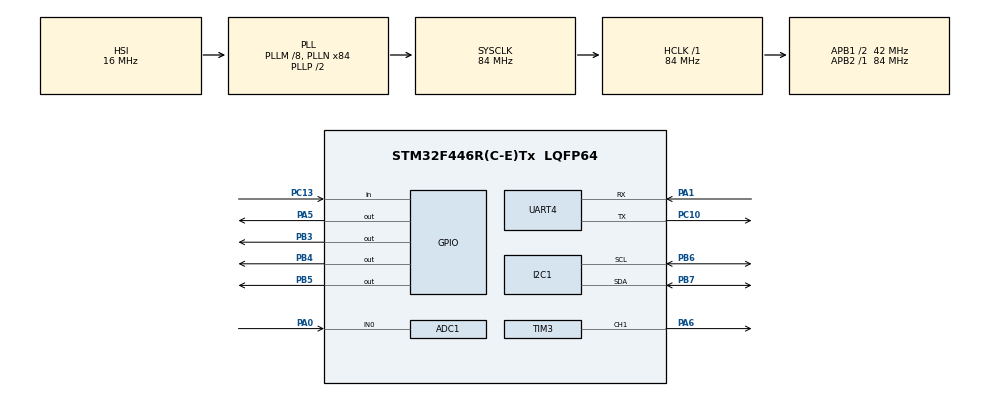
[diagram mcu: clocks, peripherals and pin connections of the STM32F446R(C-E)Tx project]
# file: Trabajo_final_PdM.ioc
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ADC1.Channel-0\#ChannelRegularConversion=ADC_CHANNEL_0
ADC1.NbrOfConversionFlag=1
ADC1.Rank-0\#ChannelRegularConversion=1
ADC1.SamplingTime-0\#ChannelRegularConversion=ADC_SAMPLETIME_3CYCLES
ADC1.master=1
I2C1.I2C_Mode=I2C_Fast
Mcu.Family=STM32F4
Mcu.Name=STM32F446R(C-E)Tx
Mcu.Package=LQFP64
NVIC.ADC_IRQn=true\:0\:0\:false\:false\:true\:true\:true\:true
NVIC.PriorityGroup=NVIC_PRIORITYGROUP_4
NVIC.UART4_IRQn=true\:0\:0\:false\:false\:true\:true\:true\:true
PA0-WKUP.Signal=ADCx_IN0
PA1.Mode=Asynchronous
PA1.Signal=UART4_RX
PA13.Mode=Serial_Wire
PA13.Signal=SYS_JTMS-SWDIO
PA14.Mode=Serial_Wire
PA14.Signal=SYS_JTCK-SWCLK
PA5.Signal=GPIO_Output
PA6.Signal=S_TIM3_CH1
PB3.Signal=GPIO_Output
PB4.Signal=GPIO_Output
PB5.Signal=GPIO_Output
PB6.Mode=I2C
PB6.Signal=I2C1_SCL
PB7.Mode=I2C
PB7.Signal=I2C1_SDA
PC10.Mode=Asynchronous
PC10.Signal=UART4_TX
PC13.GPIO_PuPd=GPIO_NOPULL
PC13.Signal=GPIO_Input
PC14-OSC32_IN.Mode=LSE-External-Oscillator
PC14-OSC32_IN.Signal=RCC_OSC32_IN
PC15-OSC32_OUT.Mode=LSE-External-Oscillator
PC15-OSC32_OUT.Signal=RCC_OSC32_OUT
PH0-OSC_IN.Mode=HSE-External-Oscillator
PH0-OSC_IN.Signal=RCC_OSC_IN
PH1-OSC_OUT.Mode=HSE-External-Oscillator
PH1-OSC_OUT.Signal=RCC_OSC_OUT
ProjectManager.HeapSize=0x200
ProjectManager.StackSize=0x400
ProjectManager.TargetToolchain=STM32CubeIDE
RCC.AHBFreq_Value=84000000
RCC.APB1CLKDivider=RCC_HCLK_DIV2
RCC.APB1Freq_Value=42000000
RCC.APB1TimFreq_Value=84000000
RCC.APB2Freq_Value=84000000
RCC.APB2TimFreq_Value=84000000
RCC.CortexFreq_Value=84000000
RCC.HCLKFreq_Value=84000000
RCC.PLLM=8
RCC.PLLN=84
RCC.SYSCLKFreq_VALUE=84000000
RCC.SYSCLKSource=RCC_SYSCLKSOURCE_PLLCLK
RCC.USBFreq_Value=84000000
RCC.VCOOutputFreq_Value=168000000
SH.ADCx_IN0.0=ADC1_IN0,IN0
SH.S_TIM3_CH1.0=TIM3_CH1,PWM Generation1 CH1
TIM3.Channel-PWM\ Generation1\ CH1=TIM_CHANNEL_1
TIM3.Period=19999
TIM3.Prescaler=83
UART4.VirtualMode=Asynchronous
VP_TIM3_VS_ClockSourceINT.Mode=Internal
board=custom

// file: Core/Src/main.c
/* USER CODE BEGIN Header */
/**
  ******************************************************************************
  * @file           : main.c
  * @brief          : Main program body
  ******************************************************************************
  * @attention
  *
  * Copyright (c) 2025 STMicroelectronics.
  * All rights reserved.
  *
  * This software is licensed under terms that can be found in the LICENSE file
  * in the root directory of this software component.
  * If no LICENSE file comes with this software, it is provided AS-IS.
  *
  ******************************************************************************
  */
/* USER CODE END Header */
#include "main.h"

/* USER CODE BEGIN PTD */
typedef enum{wait,read,write}state_t;							//estados de la SM
typedef enum{null_event,button,time_off,ADC_ready}event_t;		//eventos
/* USER CODE END PTD */

/* USER CODE BEGIN PM */

const tick_t mechanic_tao=300;

/* USER CODE END PM */

ADC_HandleTypeDef hadc1;

I2C_HandleTypeDef hi2c1;

TIM_HandleTypeDef htim3;

UART_HandleTypeDef huart4;

/* USER CODE BEGIN PV */

delay_t delay_mech;					//Variable que se utiliza para tomar el retardo mecanico del servo
volatile dato_t ADC_data;			//Variable que almacena el valor del ADC leido
volatile uint8_t rxByte=0;

/* USER CODE END PV */

void SystemClock_Config(void);
static void MX_GPIO_Init(void);
static void MX_ADC1_Init(void);
static void MX_TIM3_Init(void);
static void MX_I2C1_Init(void);
static void MX_UART4_Init(void);
/* USER CODE BEGIN PFP */

event_t events();
void FSM(state_t *state,event_t evt);
void FSM_Init(void);
void action_read(void);
void action_write();
void First_Write();

/* USER CODE END PFP */

int main(void)
{

  /* MCU Configuration--------------------------------------------------------*/

  /* Reset of all peripherals, Initializes the Flash interface and the Systick. */
  HAL_Init();

  /* Configure the system clock */
  SystemClock_Config();

  /* Initialize all configured peripherals */
  MX_GPIO_Init();
  MX_ADC1_Init();
  MX_TIM3_Init();
  MX_I2C1_Init();
  MX_UART4_Init();
  /* USER CODE BEGIN 2 */

  /*Condiciones iniciales*/
  state_t state_FSM=wait;					//Variable que registrara el estado actual de la SM. Se inicia en wait
  event_t event_FSM=null_event;				//Variable que registrara los eventos que ocasionen un cambio de estado.

  delay_mech.running=disable_mode;			//Se inicializa flag en 'disable'
  ADC_data.dato_ready=false;				//Se inicializa flag en 'false'

  FSM_Init();								//Inicializacion de la SM.

  /* USER CODE END 2 */

  /* Infinite loop */
  while (1)
  {

    /* USER CODE BEGIN 3 */
	debounceFSM_update();					//Actualizo la SM de los pulsadores
	event_FSM = events();					//Checkeo eventos
	FSM(&state_FSM,event_FSM);				//Actualizo la SM del sistema
	//debugger_GPIO((uint32_t)state_FSM);	//Descomentar para debuggear los estados instantaneos

  }
  /* USER CODE END 3 */
}

void SystemClock_Config(void)
{
  RCC_OscInitTypeDef RCC_OscInitStruct = {0};
  RCC_ClkInitTypeDef RCC_ClkInitStruct = {0};

  /** Configure the main internal regulator output voltage
  */
  __HAL_RCC_PWR_CLK_ENABLE();
  __HAL_PWR_VOLTAGESCALING_CONFIG(PWR_REGULATOR_VOLTAGE_SCALE3);

  /** Initializes the RCC Oscillators according to the specified parameters
  * in the RCC_OscInitTypeDef structure.
  */
  RCC_OscInitStruct.OscillatorType = RCC_OSCILLATORTYPE_HSI;
  RCC_OscInitStruct.HSIState = RCC_HSI_ON;
  RCC_OscInitStruct.HSICalibrationValue = RCC_HSICALIBRATION_DEFAULT;
  RCC_OscInitStruct.PLL.PLLState = RCC_PLL_ON;
  RCC_OscInitStruct.PLL.PLLSource = RCC_PLLSOURCE_HSI;
  RCC_OscInitStruct.PLL.PLLM = 8;
  RCC_OscInitStruct.PLL.PLLN = 84;
  RCC_OscInitStruct.PLL.PLLP = RCC_PLLP_DIV2;
  RCC_OscInitStruct.PLL.PLLQ = 2;
  RCC_OscInitStruct.PLL.PLLR = 2;
  if (HAL_RCC_OscConfig(&RCC_OscInitStruct) != HAL_OK)
  {
    Error_Handler();
  }

  /** Initializes the CPU, AHB and APB buses clocks
  */
  RCC_ClkInitStruct.ClockType = RCC_CLOCKTYPE_HCLK|RCC_CLOCKTYPE_SYSCLK
                              |RCC_CLOCKTYPE_PCLK1|RCC_CLOCKTYPE_PCLK2;
  RCC_ClkInitStruct.SYSCLKSource = RCC_SYSCLKSOURCE_PLLCLK;
  RCC_ClkInitStruct.AHBCLKDivider = RCC_SYSCLK_DIV1;
  RCC_ClkInitStruct.APB1CLKDivider = RCC_HCLK_DIV2;
  RCC_ClkInitStruct.APB2CLKDivider = RCC_HCLK_DIV1;

  if (HAL_RCC_ClockConfig(&RCC_ClkInitStruct, FLASH_LATENCY_2) != HAL_OK)
  {
    Error_Handler();
  }
}

static void MX_ADC1_Init(void)
{

  ADC_ChannelConfTypeDef sConfig = {0};

  /** Configure the global features of the ADC (Clock, Resolution, Data Alignment and number of conversion)
  */
  hadc1.Instance = ADC1;
  hadc1.Init.ClockPrescaler = ADC_CLOCK_SYNC_PCLK_DIV4;
  hadc1.Init.Resolution = ADC_RESOLUTION_12B;
  hadc1.Init.ScanConvMode = DISABLE;
  hadc1.Init.ContinuousConvMode = DISABLE;
  hadc1.Init.DiscontinuousConvMode = DISABLE;
  hadc1.Init.ExternalTrigConvEdge = ADC_EXTERNALTRIGCONVEDGE_NONE;
  hadc1.Init.ExternalTrigConv = ADC_SOFTWARE_START;
  hadc1.Init.DataAlign = ADC_DATAALIGN_RIGHT;
  hadc1.Init.NbrOfConversion = 1;
  hadc1.Init.DMAContinuousRequests = DISABLE;
  hadc1.Init.EOCSelection = ADC_EOC_SINGLE_CONV;
  if (HAL_ADC_Init(&hadc1) != HAL_OK)
  {
    Error_Handler();
  }

  /** Configure for the selected ADC regular channel its corresponding rank in the sequencer and its sample time.
  */
  sConfig.Channel = ADC_CHANNEL_0;
  sConfig.Rank = 1;
  sConfig.SamplingTime = ADC_SAMPLETIME_3CYCLES;
  if (HAL_ADC_ConfigChannel(&hadc1, &sConfig) != HAL_OK)
  {
    Error_Handler();
  }

}

static void MX_I2C1_Init(void)
{

  hi2c1.Instance = I2C1;
  hi2c1.Init.ClockSpeed = 400000;
  hi2c1.Init.DutyCycle = I2C_DUTYCYCLE_2;
  hi2c1.Init.OwnAddress1 = 0;
  hi2c1.Init.AddressingMode = I2C_ADDRESSINGMODE_7BIT;
  hi2c1.Init.DualAddressMode = I2C_DUALADDRESS_DISABLE;
  hi2c1.Init.OwnAddress2 = 0;
  hi2c1.Init.GeneralCallMode = I2C_GENERALCALL_DISABLE;
  hi2c1.Init.NoStretchMode = I2C_NOSTRETCH_DISABLE;
  if (HAL_I2C_Init(&hi2c1) != HAL_OK)
  {
    Error_Handler();
  }

}

static void MX_TIM3_Init(void)
{

  TIM_ClockConfigTypeDef sClockSourceConfig = {0};
  TIM_MasterConfigTypeDef sMasterConfig = {0};
  TIM_OC_InitTypeDef sConfigOC = {0};

  htim3.Instance = TIM3;
  htim3.Init.Prescaler = 83;
  htim3.Init.CounterMode = TIM_COUNTERMODE_UP;
  htim3.Init.Period = 19999;
  htim3.Init.ClockDivision = TIM_CLOCKDIVISION_DIV1;
  htim3.Init.AutoReloadPreload = TIM_AUTORELOAD_PRELOAD_DISABLE;
  if (HAL_TIM_Base_Init(&htim3) != HAL_OK)
  {
    Error_Handler();
  }
  sClockSourceConfig.ClockSource = TIM_CLOCKSOURCE_INTERNAL;
  if (HAL_TIM_ConfigClockSource(&htim3, &sClockSourceConfig) != HAL_OK)
  {
    Error_Handler();
  }
  if (HAL_TIM_PWM_Init(&htim3) != HAL_OK)
  {
    Error_Handler();
  }
  sMasterConfig.MasterOutputTrigger = TIM_TRGO_RESET;
  sMasterConfig.MasterSlaveMode = TIM_MASTERSLAVEMODE_DISABLE;
  if (HAL_TIMEx_MasterConfigSynchronization(&htim3, &sMasterConfig) != HAL_OK)
  {
    Error_Handler();
  }
  sConfigOC.OCMode = TIM_OCMODE_PWM1;
  sConfigOC.Pulse = 0;
  sConfigOC.OCPolarity = TIM_OCPOLARITY_HIGH;
  sConfigOC.OCFastMode = TIM_OCFAST_DISABLE;
  if (HAL_TIM_PWM_ConfigChannel(&htim3, &sConfigOC, TIM_CHANNEL_1) != HAL_OK)
  {
    Error_Handler();
  }
  HAL_TIM_MspPostInit(&htim3);

}

static void MX_UART4_Init(void)
{

  huart4.Instance = UART4;
  huart4.Init.BaudRate = 115200;
  huart4.Init.WordLength = UART_WORDLENGTH_8B;
  huart4.Init.StopBits = UART_STOPBITS_1;
  huart4.Init.Parity = UART_PARITY_NONE;
  huart4.Init.Mode = UART_MODE_TX_RX;
  huart4.Init.HwFlowCtl = UART_HWCONTROL_NONE;
  huart4.Init.OverSampling = UART_OVERSAMPLING_16;
  if (HAL_UART_Init(&huart4) != HAL_OK)
  {
    Error_Handler();
  }

}

static void MX_GPIO_Init(void)
{
  GPIO_InitTypeDef GPIO_InitStruct = {0};

  /* GPIO Ports Clock Enable */
  __HAL_RCC_GPIOC_CLK_ENABLE();
  __HAL_RCC_GPIOH_CLK_ENABLE();
  __HAL_RCC_GPIOA_CLK_ENABLE();
  __HAL_RCC_GPIOB_CLK_ENABLE();

  /*Configure GPIO pin Output Level */
  HAL_GPIO_WritePin(GPIOA, GPIO_PIN_5, GPIO_PIN_RESET);

  /*Configure GPIO pin Output Level */
  HAL_GPIO_WritePin(GPIOB, GPIO_PIN_3|GPIO_PIN_4|GPIO_PIN_5, GPIO_PIN_RESET);

  /*Configure GPIO pin : PC13 */
  GPIO_InitStruct.Pin = GPIO_PIN_13;
  GPIO_InitStruct.Mode = GPIO_MODE_INPUT;
  GPIO_InitStruct.Pull = GPIO_NOPULL;
  HAL_GPIO_Init(GPIOC, &GPIO_InitStruct);

  /*Configure GPIO pin : PA5 */
  GPIO_InitStruct.Pin = GPIO_PIN_5;
  GPIO_InitStruct.Mode = GPIO_MODE_OUTPUT_PP;
  GPIO_InitStruct.Pull = GPIO_NOPULL;
  GPIO_InitStruct.Speed = GPIO_SPEED_FREQ_LOW;
  HAL_GPIO_Init(GPIOA, &GPIO_InitStruct);

  /*Configure GPIO pins : PB3 PB4 PB5 */
  GPIO_InitStruct.Pin = GPIO_PIN_3|GPIO_PIN_4|GPIO_PIN_5;
  GPIO_InitStruct.Mode = GPIO_MODE_OUTPUT_PP;
  GPIO_InitStruct.Pull = GPIO_NOPULL;
  GPIO_InitStruct.Speed = GPIO_SPEED_FREQ_LOW;
  HAL_GPIO_Init(GPIOB, &GPIO_InitStruct);

}

/* USER CODE BEGIN 4 */

/*
 * Funcion para checkear eventos
 * No lleva parametros
 * Devuelve el evento del tipo event_t
 * */
event_t events(void){
	event_t event_r=null_event;						//En caso de no registrar eventos: devuelve 'null_event'

	if(ADC_data.dato_ready==true){					//Si el flag esta en 'true' significa que hay un dato disponible para ser leido
		event_r=ADC_ready;
	}

	if(delayRead_2(&delay_mech) == ready_mode){		//Si el flag es 'ready_mode' significa que termino el NB-delay
		event_r=time_off;
	}

	if(readKey()){									//Si se preciona el pulsador el evento es 'button'
		event_r=button;								//Se encuentra ultimo por mayor prioridad
	}

	return event_r;
}

/*
 * Funcion para inicializar la SM
 * No lleva parametros
 * No retorna un valor
 * */
void FSM_Init(void){
	UART_Rx_IT();				//Inicializacion de recepcion UART para comandos de config
	debounceFSM_init();			//Inicializacion de la SM del pulsador
	Display_Init();				//Inicializacion del Display
	PWM_Init();					//Inicializacion de la señal PWM que controla el servo
	PWM_Control(0);				//Estado inicial del servomotor ~0 grados.
	wellcome();					//Mensaje de inicio del Display
}

/*
 * Funcion para actualiza los estados de la SM
 * Como parametros recibe la direccion de memoria de la variable que almacena el estado actual  de SM y el evento
 * No retorna  un valor
 * */
void FSM(state_t *state,event_t evt){
	switch(*state){
		case wait:
			if(evt==button){
				First_Write(&delay_mech);
				*state=write;
			}
			break;
		case read:
			if(evt==time_off){
				action_write();
				*state=write;
			}
			if(evt==button){
				wellcome();
				*state=wait;
			}
			break;
		case write:
			if(evt==ADC_ready){
				action_read();
				*state=read;
			}
			if(evt==button){
				wellcome();
				*state=wait;
			}
			break;
		default:
			break;
	}
}

/*Accion que se realiza cuando se transiciona al estado 'read'
 * No lleva parametros
 * No retorna  un valor
 * */
void action_read(void){
	ADC_data.dato_ready=false;			//Se reinicia el flag en false
	ADC_Start();						//Se reinicia la lectura del ADC.
}

/*Accion que se realiza cuando se transiciona al estado 'write' por primera vez
 * No lleva parametros
 * No retorna  un valor
 * */
void First_Write(){
	Blocking_Delay(3000);						//Se realiza un delay bloqueante para sincronizar la SM
	delayInit_2(&delay_mech, mechanic_tao);		//Se inicializa el primer NB-delay
	ADC_Start();								//Se incializa el ADC para que haya un evento luego del NBD
}

/*Accion que se realiza cuando se transiciona al estado 'write'
 * No lleva parametros
 * No retorna  un valor
 * */
void action_write(){
	message(ADC_data.ADC_value);				//Se envia el valor de ADC leido al OLED
	delayDisable_2(&delay_mech);				//Se finaliza el delay mecanico
	PWM_Control(ADC_data.ADC_value);			//Se actualiza el angulo del servomotor
	delayInit_2(&delay_mech, mechanic_tao);		//Se reinicia el delay mecanico
	UART_Tx(ADC_data.ADC_value);				//Se envia el valor del nuevo angulo
}

/* USER CODE END 4 */

void Error_Handler(void)
{
  __disable_irq();
  while (1)
  {
  }
}
